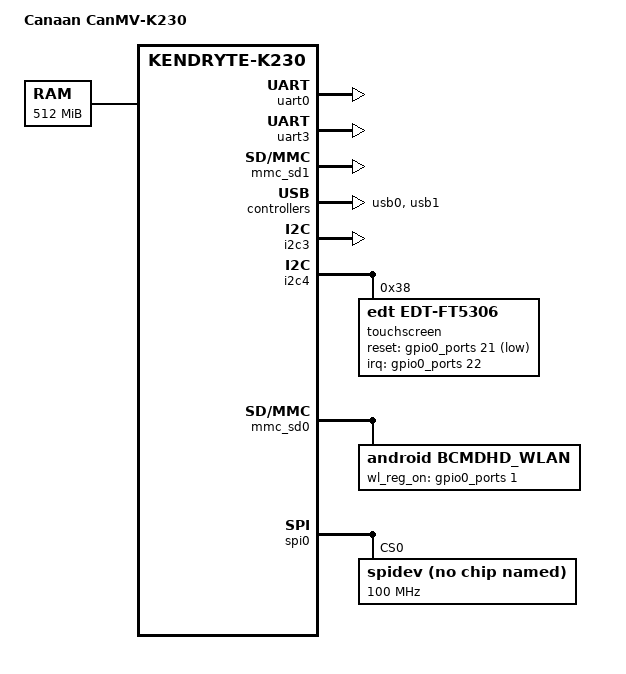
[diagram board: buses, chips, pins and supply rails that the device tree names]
// SPDX-License-Identifier: GPL-2.0 OR MIT
/*
 * Copyright (C) 2024 Yangyu Chen <cyy@cyyself.name>
 */

#include "k230.dtsi"
#include "display-st7701-480x800.dtsi"

/ {
	model = "Canaan CanMV-K230";
	compatible = "canaan,canmv-k230", "canaan,kendryte-k230";

	aliases {
		serial3 = &uart3;
		mmc0 = &mmc_sd0;
		mmc1 = &mmc_sd1;
	};

	chosen {
		stdout-path = "serial0:115200n8";
	};

	ddr: memory@0 {
		device_type = "memory";
		reg = <0x0 0x0 0x0 0x20000000>;
	};

	sound {
		status                      = "okay";
		compatible                  = "canaan,k230-audio-inno";
		canaan,model                = "K230_I2S_INNO";
		canaan,k230-i2s-controller  = <&i2s>;
		canaan,k230-audio-codec     = <&inno_codec>;
	};
};

&uart0 {
	status = "okay";
};
&uart3 {
	status = "okay";
};
&mmc_sd1{
	status = "okay";
	no-1-8-v;
	cap-sd-highspeed;
	mshc_ctrl_r = <0x00>;
};

&usb0 {
	status = "okay";
};
&usb1 {
	status = "okay";
};

&i2c3 {
	status = "okay";
};

&i2c4 {
	status = "okay";
	touchscreen@38 {
		compatible = "edt,edt-ft5306";
		reg = <0x38>;
		reset-gpios = <&gpio0_ports 21 GPIO_ACTIVE_LOW>;
		interrupt-parent = <&gpio0_ports>;
		interrupts = <22 IRQ_TYPE_EDGE_FALLING>;
	};
};

&lcd {
	dsi_reset-gpios = <&gpio0_ports 20 GPIO_ACTIVE_HIGH>;
	backlight_gpio-gpios = <&gpio0_ports 25 GPIO_ACTIVE_HIGH>;
};
&mmc_sd0 {
	status = "okay";
	io_fixed_1v8;
	rx_delay_line = <0x0d>;
	tx_delay_line = <0x00>;
	bcmdhd_wlan {
		compatible = "android,bcmdhd_wlan";
		gpio_wl_reg_on = <&gpio0_ports 1 GPIO_ACTIVE_HIGH>;
	};
};

&spi0 {
	status = "okay";
	spidev@0{
		compatible = "rohm,dh2228fv";
		reg = <0>;
		spi-max-frequency = <100000000>;
	};
};
